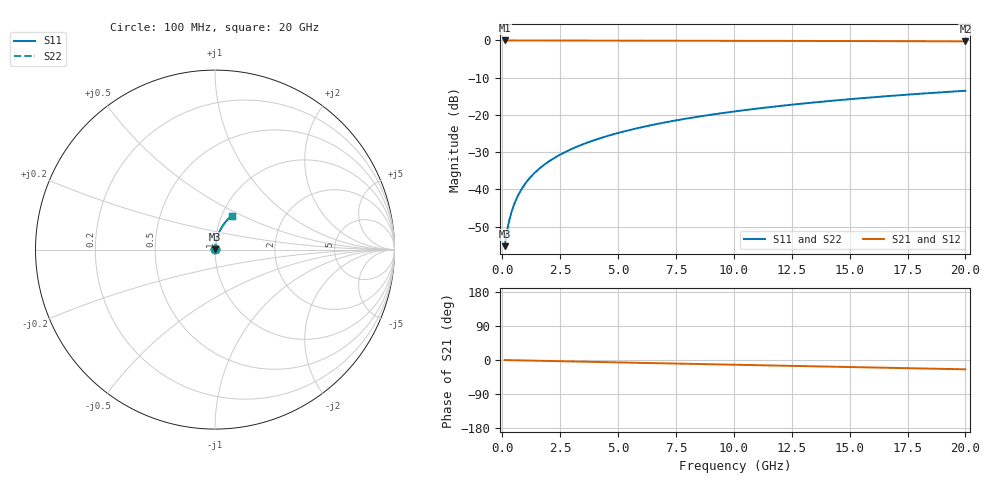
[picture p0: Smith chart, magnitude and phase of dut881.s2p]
! Touchstone file exported from HFSS 2026.1.0
!  File:  C:/ffzhzh/LocalFiles/Ansys_Project_Files/temp_train_BSMRDL_881_1783171070_55132.aedt
!  Generated:  09:19:02 PM Jul  4, 2026
!  Design:  BSMRDL
!  Project:  temp_train_BSMRDL_881_1783171070_55132
! Variables:
!  h_bsmrdl = 4.98um
!  h_ox = 20um
!  h_rdl = 5um
!  h_sub = 80um
!  h_tmrdl = 5um
!  h_tsv = 80um
!  h_via = 3um
!  l_bsmrdl = 348.64um
!  l_sub = 748.64um
!  l_tmrdl = 200um
!  m_sub = 200um
!  pitch = 49.61um
!  r_tsv = 6um
!  s_tmrdl = 10um
!  w_bsmrdl = 25.74um
!  w_sub = 500um
!  w_tmrdl = 12um
!  x_tsv_center1 = 206um
!  x_tsv_center2 = 580.38um
!  x_tsv_center3 = 792.38um
!  x_tsv_center4 = 1166.76um
!  x_tsv_center5 = 1378.76um
!  x_tsv_center6 = 1753.14um
# GHz S MA R 50.000000
! Terminal data exported
! Port[1] = BSM_RDL1_1_T1
! Port[2] = BSM_RDL1_1_T2
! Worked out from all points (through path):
!   200 points, 100 MHz to 20 GHz, reference 50 ohm
!   highest |S21| = -0.01 dB at 100 MHz (marker M1); lowest = -0.3 dB at 20 GHz (marker M2)
!   group delay of S21, straight-line fit = 3.41 ps
!   lowest |S11| = -55.2 dB at 100 MHz (marker M3), VSWR 1.00, Z = 50.1 + j0.13 ohm
!   |S11| at or under -10 dB: start of sweep to end of sweep
!   |S22| runs from -55.2 to -13.5 dB; largest |S21 - S12| = 3.5e-15
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0.1  0.001733 48.4  0.9989 -0.1  0.9989 -0.1  0.001733 48.4
! Gamma 0 0 0 0
! Port Impedance 50 0 50 0
0.2  0.002724 65.9  0.9988 -0.3  0.9988 -0.3  0.002727 66.0
0.3  0.003838 73.1  0.9987 -0.4  0.9987 -0.4  0.003842 73.1
0.4  0.004994 76.7  0.9986 -0.5  0.9986 -0.5  0.004998 76.7
0.5  0.006165 78.8  0.9986 -0.7  0.9986 -0.7  0.00617 78.9
0.6  0.007344 80.2  0.9985 -0.8  0.9985 -0.8  0.007349 80.2
0.8  0.009705 81.7  0.9985 -1.0  0.9985 -1.0  0.00971 81.7
1.1  0.01323 82.7  0.9984 -1.4  0.9984 -1.4  0.01324 82.7
1.3  0.01557 83.0  0.9983 -1.7  0.9983 -1.7  0.01557 83.0
1.5  0.01789 83.1  0.9982 -1.9  0.9982 -1.9  0.0179 83.1
1.8  0.02135 83.1  0.998 -2.3  0.998 -2.3  0.02136 83.1
2.1  0.02479 83.0  0.9978 -2.7  0.9978 -2.7  0.02479 83.0
2.7  0.0316 82.6  0.9974 -3.5  0.9974 -3.5  0.0316 82.6
3.5  0.0406 82.0  0.9967 -4.5  0.9967 -4.5  0.0406 82.0
4.2  0.0484 81.3  0.9961 -5.3  0.9961 -5.3  0.0484 81.3
5  0.05725 80.5  0.9953 -6.3  0.9953 -6.3  0.05725 80.5
6.8  0.07692 78.6  0.9933 -8.6  0.9933 -8.6  0.07692 78.6
8.3  0.09307 77.0  0.9915 -10.4  0.9915 -10.4  0.09307 77.0
10.1  0.1122 75.0  0.9891 -12.7  0.9891 -12.7  0.1122 75.0
13.4  0.1464 71.2  0.9839 -16.7  0.9839 -16.7  0.1464 71.3
16.7  0.1795 67.5  0.9779 -20.7  0.9779 -20.7  0.1795 67.5
20  0.2111 63.7  0.9711 -24.6  0.9711 -24.6  0.2111 63.7
